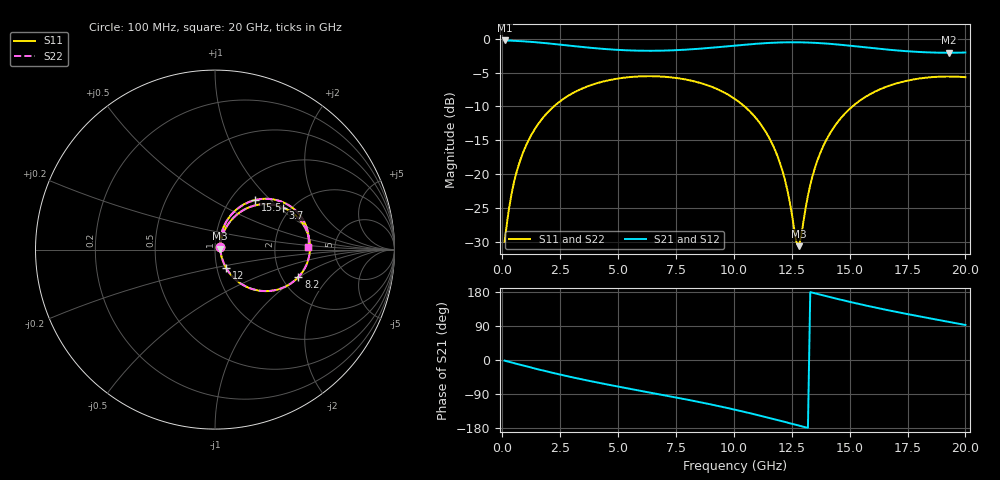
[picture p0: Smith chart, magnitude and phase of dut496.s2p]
! Touchstone file exported from HFSS 2026.1.0
!  File:  C:/ffzhzh/LocalFiles/Ansys_Project_Files/temp_train_TSV_RDL_496_1783106688_35180.aedt
!  Generated:  03:33:48 AM Jul  4, 2026
!  Design:  TSV_RDL
!  Project:  temp_train_TSV_RDL_496_1783106688_35180
! Variables:
!  h_bsmrdl = 2.74um
!  h_ox = 20um
!  h_rdl = 5um
!  h_sub = 76.78um
!  h_tmrdl = 5.24um
!  h_tsv = 76.78um
!  h_via = 3um
!  l_bsmrdl = 397.56um
!  l_sub = 4478.94um
!  l_tmrdl = 700.07um
!  m_sub = 200um
!  pitch = 37.08um
!  r_tsv = 8.38um
!  s_tmrdl = 10um
!  w_bsmrdl = 17.75um
!  w_sub = 500um
!  w_tmrdl = 10.91um
!  x_tsv_center1 = 705.525um
!  x_tsv_center2 = 1120.835um
!  x_tsv_center3 = 1831.815um
!  x_tsv_center4 = 2247.125um
!  x_tsv_center5 = 2958.105um
!  x_tsv_center6 = 3373.415um
# GHz S MA R 50.000000
! Terminal data exported
! Port[1] = TM_RDL1_1_T1
! Port[2] = TM_RDL5_1_T1
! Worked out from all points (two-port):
!   200 points, 100 MHz to 20 GHz, reference 50 ohm
!   highest |S21| = -0.24 dB at 100 MHz (marker M1); lowest = -2.1 dB at 19.3 GHz (marker M2)
!   |S21| within 3 dB of the highest: start of sweep to end of sweep
!   lowest |S11| = -30.7 dB at 12.8 GHz (marker M3), VSWR 1.06, Z = 53 + j0.571 ohm
!   |S11| at or under -10 dB: start of sweep to 2.225 GHz; 10.46 GHz to 15.12 GHz (4.656 GHz wide, 36.4 % of centre)
!   |S22| runs from -30.5 to -5.5 dB; largest |S21 - S12| = 1.6e-14
!   S11 on the Smith chart (normalised r, x): 100 MHz: 1.06, +0.03; 3.7 GHz: 1.82, +1.07; 8.2 GHz: 2.45, -0.99; 12 GHz: 1.11, -0.23; 15.5 GHz: 1.29, +0.81; 20 GHz: 3.17, +0.13
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0.1  0.03161 30.5  0.9731 -1.7  0.9731 -1.7  0.03161 30.5
! Gamma 0 0 0 0
! Port Impedance 50 0 50 0
0.3  0.05695 55.6  0.9708 -5.0  0.9708 -5.0  0.05695 55.6
0.5  0.08618 62.0  0.9675 -8.2  0.9675 -8.2  0.08618 62.0
1.2  0.1871 61.1  0.9515 -19.3  0.9515 -19.3  0.1871 61.1
2.2  0.3135 49.9  0.9176 -34.2  0.9176 -34.2  0.3135 49.9
3.5  0.4327 34.0  0.869 -51.9  0.869 -51.9  0.4327 34.0
3.7  0.4465 31.6  0.8623 -54.4  0.8623 -54.4  0.4465 31.6
5.3  0.5172 13.5  0.8238 -73.6  0.8238 -73.6  0.5172 13.5
6.8  0.5271 -2.8  0.8175 -90.8  0.8175 -90.8  0.5271 -2.8
8.2  0.4891 -18.2  0.8378 -107.2  0.8378 -107.2  0.4891 -18.2
10.1  0.3542 -40.7  0.8935 -131.9  0.8935 -131.9  0.3543 -40.6
11.2  0.2285 -53.6  0.9258 -147.9  0.9258 -147.9  0.2285 -53.5
12  0.1197 -58.8  0.9405 -160.3  0.9405 -160.3  0.1198 -58.6
12.3  0.07764 -55.4  0.943 -165.0  0.943 -165.0  0.0778 -55.1
12.7  0.03157 -16.1  0.9435 -171.3  0.9435 -171.3  0.03195 -15.9
12.8  0.0293 10.6  0.9431 -172.9  0.9431 -172.9  0.0297 10.5
13.4  0.09672 68.2  0.9364 177.6  0.9364 177.6  0.09683 68.0
14.2  0.2062 65.7  0.9172 165.3  0.9172 165.3  0.2063 65.6
15.5  0.3549 51.1  0.8722 146.5  0.8722 146.5  0.3549 51.0
16.7  0.4498 37.1  0.8309 130.9  0.8309 130.9  0.4498 37.1
19.3  0.5269 9.0  0.7891 100.4  0.7891 100.4  0.5269 9.1
20  0.5206 1.7  0.7926 92.4  0.7926 92.4  0.5206 1.8
